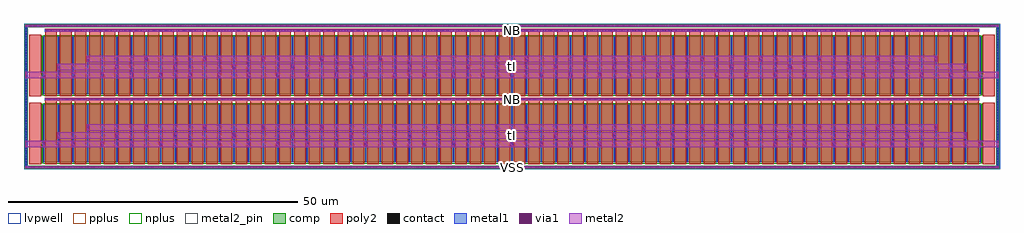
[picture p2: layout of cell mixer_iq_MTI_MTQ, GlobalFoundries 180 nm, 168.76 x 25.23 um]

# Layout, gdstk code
import gdstk
lib = gdstk.Library(unit=1e-6, precision=1e-09)
def R(c, l, rs):  # rectangles x0, y0, x1, y1
    for r in rs: c.add(gdstk.rectangle(r[:2], r[2:], *l))
def A(c, l, x, y, w, h, nx, ny, dx, dy):  # array of equal rectangles
    R(c, l, [(x+i*dx, y+j*dy, x+i*dx+w, y+j*dy+h) for i in range(nx) for j in range(ny)])
comp = (22, 0)
poly2 = (30, 0)
pplus = (31, 0)
nplus = (32, 0)
contact = (33, 0)
metal1 = (34, 0)
via1 = (35, 0)
metal2 = (36, 0)
metal2_pin = (36, 10)
lvpwell = (204, 0)

mixer_iq_mti_mtq = lib.new_cell('mixer_iq_MTI_MTQ')
R(mixer_iq_mti_mtq, comp, [(-3.12,-0.82,165.4,-0.3), (-3.12,-0.3,-2.6,23.655), (164.88,-0.3,165.4,23.655), (0,0.3,162.28,10.3), (0,12.055,162.28,22.055), (-3.12,23.655,165.4,24.175)])
A(mixer_iq_mti_mtq, poly2, 0.445, 0, 2, 10.945, 64, 1, 2.53, 0)
A(mixer_iq_mti_mtq, poly2, 0.445, 11.755, 2, 11.09, 64, 1, 2.53, 0)
R(mixer_iq_mti_mtq, poly2, [(-2.3,0,-0.3,10.6), (162.58,0,164.58,10.6), (0.345,10.945,161.935,11.455), (-2.3,11.755,-0.3,22.355), (162.58,11.755,164.58,22.355), (0.345,22.845,161.935,23.355)])
R(mixer_iq_mti_mtq, pplus, [(-2.46,-0.85,164.74,-0.84), (-3.14,-0.84,165.42,-0.795), (-3.15,-0.795,165.43,-0.27), (-3.15,-0.27,-2.57,23.625), (164.85,-0.27,165.43,23.625), (-3.15,23.625,165.43,24.15), (-3.14,24.15,165.42,24.195), (-2.46,24.195,164.74,24.205)])
R(mixer_iq_mti_mtq, nplus, [(0.215,0.07,162.065,0.14), (-0.16,0.14,162.44,10.46), (0.215,10.46,162.065,10.53), (0.215,11.825,162.065,11.895), (-0.16,11.895,162.44,22.215), (0.215,22.215,162.065,22.285)])
A(mixer_iq_mti_mtq, contact, -2.16, -0.67, 0.22, 0.22, 355, 2, 0.47, 24.475)
A(mixer_iq_mti_mtq, contact, -2.97, -0.655, 0.22, 0.22, 1, 53, 0, 0.47)
A(mixer_iq_mti_mtq, contact, 165.03, -0.655, 0.22, 0.22, 1, 53, 0, 0.47)
A(mixer_iq_mti_mtq, contact, 0.07, 0.49, 0.22, 0.22, 65, 21, 2.53, 0.47)
A(mixer_iq_mti_mtq, contact, 0.425, 11.09, 0.22, 0.22, 344, 2, 0.47, 11.9)
A(mixer_iq_mti_mtq, contact, 0.07, 12.245, 0.22, 0.22, 65, 21, 2.53, 0.47)
A(mixer_iq_mti_mtq, metal1, 0.065, 0.31, 0.23, 2.63, 33, 1, 5.06, 0)
A(mixer_iq_mti_mtq, metal1, 2.595, 0.31, 0.23, 4.03, 8, 1, 10.12, 0)
A(mixer_iq_mti_mtq, metal1, 7.655, 0.31, 0.23, 5.43, 8, 1, 10.12, 0)
A(mixer_iq_mti_mtq, metal1, 83.555, 0.31, 0.23, 5.43, 8, 1, 10.12, 0)
A(mixer_iq_mti_mtq, metal1, 88.615, 0.31, 0.23, 4.03, 8, 1, 10.12, 0)
A(mixer_iq_mti_mtq, metal1, -0.01, 2.94, 0.38, 1.12, 33, 2, 5.06, 11.9)
A(mixer_iq_mti_mtq, metal1, 0.065, 4.06, 0.23, 6.23, 33, 1, 5.06, 0)
A(mixer_iq_mti_mtq, metal1, 2.52, 4.34, 0.38, 1.12, 8, 2, 10.12, 11.9)
A(mixer_iq_mti_mtq, metal1, 88.54, 4.34, 0.38, 1.12, 8, 2, 10.12, 11.9)
A(mixer_iq_mti_mtq, metal1, 2.595, 5.46, 0.23, 4.83, 8, 1, 10.12, 0)
A(mixer_iq_mti_mtq, metal1, 88.615, 5.46, 0.23, 4.83, 8, 1, 10.12, 0)
A(mixer_iq_mti_mtq, metal1, 7.58, 5.74, 0.38, 1.12, 8, 2, 10.12, 11.9)
A(mixer_iq_mti_mtq, metal1, 83.48, 5.74, 0.38, 1.12, 8, 2, 10.12, 11.9)
A(mixer_iq_mti_mtq, metal1, 7.655, 6.86, 0.23, 3.43, 8, 1, 10.12, 0)
A(mixer_iq_mti_mtq, metal1, 83.555, 6.86, 0.23, 3.43, 8, 1, 10.12, 0)
A(mixer_iq_mti_mtq, metal1, 0.065, 12.065, 0.23, 2.775, 33, 1, 5.06, 0)
A(mixer_iq_mti_mtq, metal1, 2.595, 12.065, 0.23, 4.175, 8, 1, 10.12, 0)
A(mixer_iq_mti_mtq, metal1, 7.655, 12.065, 0.23, 5.575, 8, 1, 10.12, 0)
A(mixer_iq_mti_mtq, metal1, 83.555, 12.065, 0.23, 5.575, 8, 1, 10.12, 0)
A(mixer_iq_mti_mtq, metal1, 88.615, 12.065, 0.23, 4.175, 8, 1, 10.12, 0)
A(mixer_iq_mti_mtq, metal1, 0.065, 15.96, 0.23, 6.085, 33, 1, 5.06, 0)
A(mixer_iq_mti_mtq, metal1, 2.595, 17.36, 0.23, 4.685, 8, 1, 10.12, 0)
A(mixer_iq_mti_mtq, metal1, 88.615, 17.36, 0.23, 4.685, 8, 1, 10.12, 0)
A(mixer_iq_mti_mtq, metal1, 7.655, 18.76, 0.23, 3.285, 8, 1, 10.12, 0)
A(mixer_iq_mti_mtq, metal1, 83.555, 18.76, 0.23, 3.285, 8, 1, 10.12, 0)
R(mixer_iq_mti_mtq, metal1, [(-3.055,-0.755,165.335,-0.365), (-3.055,-0.365,-2.665,23.72), (164.945,-0.365,165.335,23.72), (0.355,11.01,161.925,11.39), (0.355,22.91,161.925,23.29), (-3.055,23.72,165.335,24.11)])
A(mixer_iq_mti_mtq, via1, -2.97, -0.69, 0.26, 0.26, 324, 2, 0.52, 24.475)
A(mixer_iq_mti_mtq, via1, 0.05, 3.11, 0.26, 0.26, 33, 2, 5.06, 0.52)
A(mixer_iq_mti_mtq, via1, 2.58, 4.51, 0.26, 0.26, 8, 2, 10.12, 0.52)
A(mixer_iq_mti_mtq, via1, 88.6, 4.51, 0.26, 0.26, 8, 2, 10.12, 0.52)
A(mixer_iq_mti_mtq, via1, 7.64, 5.91, 0.26, 0.26, 8, 2, 10.12, 0.52)
A(mixer_iq_mti_mtq, via1, 83.54, 5.91, 0.26, 0.26, 8, 2, 10.12, 0.52)
A(mixer_iq_mti_mtq, via1, 0.67, 11.07, 0.26, 0.26, 310, 2, 0.52, 11.9)
A(mixer_iq_mti_mtq, via1, 0.05, 15.01, 0.26, 0.26, 33, 2, 5.06, 0.52)
A(mixer_iq_mti_mtq, via1, 2.58, 16.41, 0.26, 0.26, 8, 2, 10.12, 0.52)
A(mixer_iq_mti_mtq, via1, 88.6, 16.41, 0.26, 0.26, 8, 2, 10.12, 0.52)
A(mixer_iq_mti_mtq, via1, 7.64, 17.81, 0.26, 0.26, 8, 2, 10.12, 0.52)
A(mixer_iq_mti_mtq, via1, 83.54, 17.81, 0.26, 0.26, 8, 2, 10.12, 0.52)
R(mixer_iq_mti_mtq, via1, [(-2.99,3.11,-2.73,3.37), (165.01,3.11,165.27,3.37), (-2.99,3.63,-2.73,3.89), (165.01,3.63,165.27,3.89), (-2.99,15.01,-2.73,15.27), (165.01,15.01,165.27,15.27), (-2.99,15.53,-2.73,15.79), (165.01,15.53,165.27,15.79)])
R(mixer_iq_mti_mtq, metal2, [(-3.055,-0.755,165.335,-0.365), (-3.055,2.94,165.335,4.06), (2.52,4.34,159.76,5.46), (7.58,5.74,154.7,6.86), (0.41,11.01,161.87,11.39), (-3.055,14.84,165.335,15.96), (2.52,16.24,159.76,17.36), (7.58,17.64,154.7,18.76), (0.41,22.91,161.87,23.29), (-3.055,23.72,165.335,24.11)])
R(mixer_iq_mti_mtq, metal2_pin, [(-3.055,-0.755,165.335,-0.365), (2.52,4.34,159.76,5.46), (7.58,5.74,154.7,6.86), (0.41,11.01,161.87,11.39), (2.52,16.24,159.76,17.36), (7.58,17.64,154.7,18.76), (0.41,22.91,161.87,23.29)])
R(mixer_iq_mti_mtq, lvpwell, [(-3.24,-0.94,165.52,24.295)])
mixer_iq_mti_mtq.add(gdstk.Label('tI', (81.14,16.8), layer=36, texttype=10))
mixer_iq_mti_mtq.add(gdstk.Label('tI', (81.14,4.9), layer=36, texttype=10))
mixer_iq_mti_mtq.add(gdstk.Label('tQ', (81.14,18.2), layer=36, texttype=10))
mixer_iq_mti_mtq.add(gdstk.Label('tQ', (81.14,6.3), layer=36, texttype=10))
mixer_iq_mti_mtq.add(gdstk.Label('NB', (81.14,23.1), layer=36, texttype=10))
mixer_iq_mti_mtq.add(gdstk.Label('NB', (81.14,11.2), layer=36, texttype=10))
mixer_iq_mti_mtq.add(gdstk.Label('VSS', (81.14,-0.56), layer=36, texttype=10))

lib.write_gds('mixer_iq_MTI_MTQ.gds')
